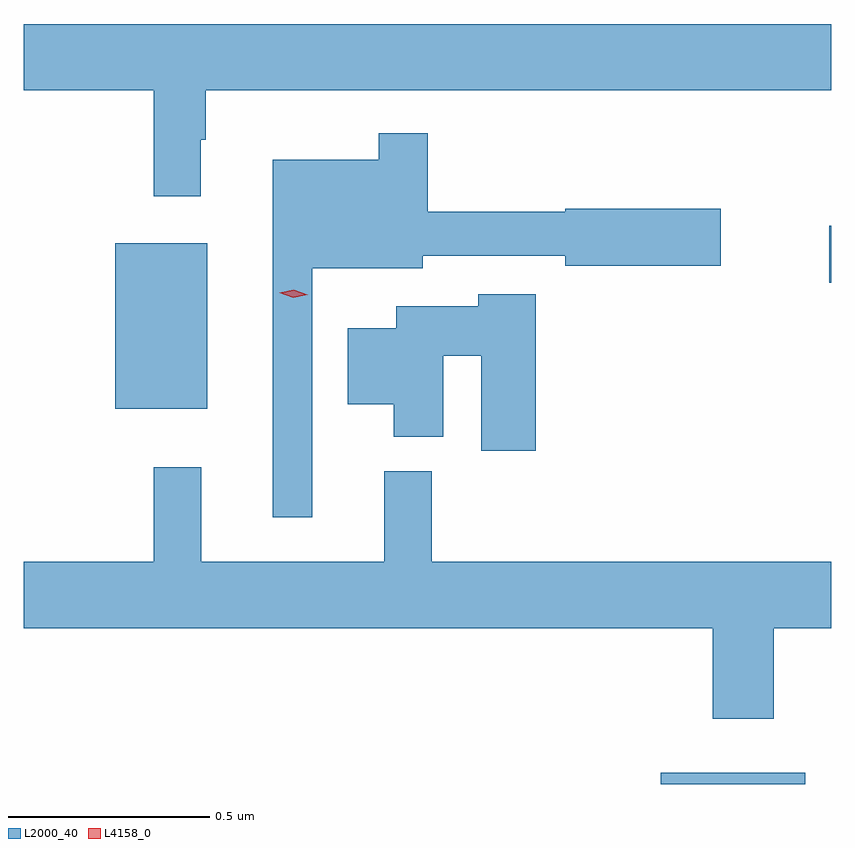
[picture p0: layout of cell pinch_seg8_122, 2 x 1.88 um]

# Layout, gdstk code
import gdstk
lib = gdstk.Library(unit=1e-6, precision=1e-09)
def R(c, l, rs):  # rectangles x0, y0, x1, y1
    for r in rs: c.add(gdstk.rectangle(r[:2], r[2:], *l))
def P(c, l, *ps):  # polygons
    for p in ps: c.add(gdstk.Polygon(p, *l))
L2000_40 = (2000, 40)
L4158_0 = (4158, 0)

pinch_seg8_122 = lib.new_cell('pinch_seg8_122')
R(pinch_seg8_122, L2000_40, [(1054.472,1101.462,1054.831,1101.49), (1053.122,1102.391,1053.349,1102.801), (1054.89,1102.703,1054.895,1102.845)])
P(pinch_seg8_122, L2000_40, [(1053.334,1103.057),(1053.346,1103.057),(1053.346,1103.18),(1054.895,1103.18),(1054.895,1103.344),(1052.895,1103.344),(1052.895,1103.18),(1053.217,1103.18),(1053.217,1102.917),(1053.334,1102.917)],
  [(1053.609,1102.739),(1053.883,1102.739),(1053.883,1102.77),(1054.236,1102.77),(1054.236,1102.745),(1054.621,1102.745),(1054.621,1102.887),(1054.236,1102.887),(1054.236,1102.879),(1053.895,1102.879),(1053.895,1103.074),(1053.774,1103.074),(1053.774,1103.008),(1053.512,1103.008),(1053.512,1102.122),(1053.609,1102.122)],
  [(1054.163,1102.675),(1054.021,1102.675),(1054.021,1102.645),(1053.818,1102.645),(1053.818,1102.591),(1053.698,1102.591),(1053.698,1102.403),(1053.812,1102.403),(1053.812,1102.322),(1053.934,1102.322),(1053.934,1102.523),(1054.028,1102.523),(1054.028,1102.287),(1054.163,1102.287)],
  [(1054.753,1101.848),(1054.895,1101.848),(1054.895,1102.012),(1053.905,1102.012),(1053.905,1102.237),(1053.788,1102.237),(1053.788,1102.012),(1053.335,1102.012),(1053.335,1102.246),(1053.217,1102.246),(1053.217,1102.012),(1052.895,1102.012),(1052.895,1101.848),(1054.601,1101.848),(1054.601,1101.624),(1054.753,1101.624)])
P(pinch_seg8_122, L4158_0, [(1053.563,1102.666),(1053.528,1102.679),(1053.527,1102.679),(1053.528,1102.679),(1053.564,1102.686),(1053.599,1102.674),(1053.599,1102.674),(1053.599,1102.674)])

lib.write_gds('pinch_seg8_122.gds')
